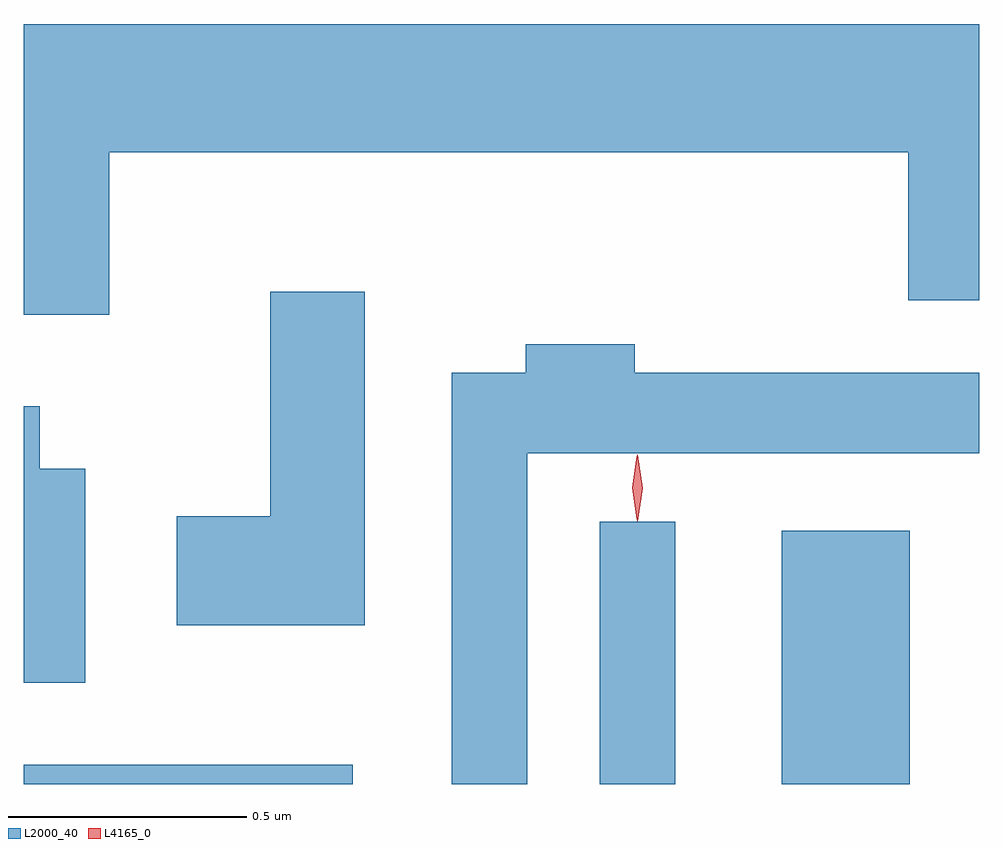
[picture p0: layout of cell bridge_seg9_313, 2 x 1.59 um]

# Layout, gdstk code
import gdstk
lib = gdstk.Library(unit=1e-6, precision=1e-09)
def R(c, l, rs):  # rectangles x0, y0, x1, y1
    for r in rs: c.add(gdstk.rectangle(r[:2], r[2:], *l))
def P(c, l, *ps):  # polygons
    for p in ps: c.add(gdstk.Polygon(p, *l))
L2000_40 = (2000, 40)
L4165_0 = (4165, 0)

bridge_seg9_313 = lib.new_cell('bridge_seg9_313')
R(bridge_seg9_313, L2000_40, [(1016.94,2074.854,1017.629,2074.894), (1018.146,2074.854,1018.304,2075.403), (1018.526,2074.854,1018.794,2075.384)])
P(bridge_seg9_313, L2000_40, [(1017.119,2076.176),(1018.791,2076.176),(1018.791,2075.866),(1018.94,2075.866),(1018.94,2076.444),(1016.94,2076.444),(1016.94,2075.836),(1017.119,2075.836)],
  [(1017.654,2075.884),(1017.456,2075.884),(1017.456,2075.414),(1017.261,2075.414),(1017.261,2075.186),(1017.654,2075.186)],
  [(1017.994,2075.546),(1018.94,2075.546),(1018.94,2075.714),(1018.219,2075.714),(1018.219,2075.774),(1017.991,2075.774),(1017.991,2075.714),(1017.836,2075.714),(1017.836,2074.854),(1017.994,2074.854)],
  [(1017.069,2075.514),(1016.974,2075.514),(1016.974,2075.644),(1016.94,2075.644),(1016.94,2075.066),(1017.069,2075.066)])
P(bridge_seg9_313, L4165_0, [(1018.224,2075.404),(1018.215,2075.473),(1018.224,2075.543),(1018.225,2075.543),(1018.225,2075.543),(1018.235,2075.473),(1018.225,2075.404),(1018.225,2075.404)],
  [(1018.224,2075.407),(1018.223,2075.408),(1018.214,2075.474),(1018.223,2075.54),(1018.224,2075.541),(1018.224,2075.54),(1018.234,2075.474),(1018.224,2075.408)])

lib.write_gds('bridge_seg9_313.gds')
